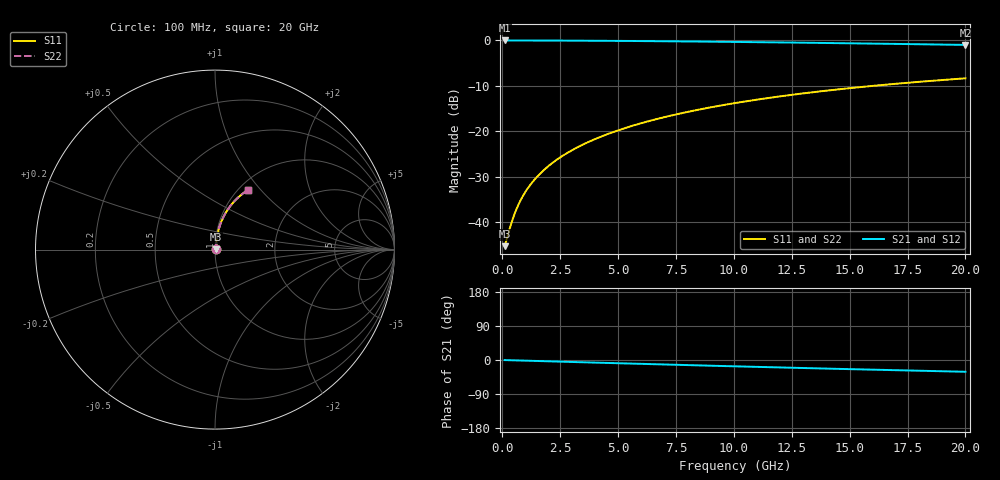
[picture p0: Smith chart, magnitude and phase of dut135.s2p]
! Touchstone file exported from HFSS 2024.1.0
!  File:  C:/UserFiles/LocalFiles/RDL_TSV_Batchsim/temp_RDL_bottom_135_1778696652.aedt
!  Generated:  02:26:53 AM May 14, 2026
!  Design:  RDL_bottom
!  Project:  temp_RDL_bottom_135_1778696652
!  Setup:  Setup1
!  Solution:  Sweep
! Variables:
!  dtsv = 10.80580581um
!  hbump = 3um
!  htsv = 73.01um
!  ldown = 358.16um
!  lrdl = 100um
!  p = 40
!  p1 = 46.82um
!  rhole = 1um
!  t = 450um
!  tdown = 2.14um
!  trdl = 3.915915916um
!  wdown = 12.25um
!  wrdl = 20um
# GHz S MA R 50.000000
! Terminal data exported
! Port[1] = RDL1_T1
! Port[2] = RDL1_T2
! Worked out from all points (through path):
!   200 points, 100 MHz to 20 GHz, reference 50 ohm
!   highest |S21| = -0.04 dB at 100 MHz (marker M1); lowest = -1.0 dB at 20 GHz (marker M2)
!   group delay of S21, straight-line fit = 4.31 ps
!   lowest |S11| = -45.2 dB at 100 MHz (marker M3), VSWR 1.01, Z = 50.5 + j0.215 ohm
!   |S11| at or under -10 dB: start of sweep to 16.05 GHz
!   |S22| runs from -45.2 to -8.4 dB; largest |S21 - S12| = 3.8e-15
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0.1  0.005466 22.9  0.995 -0.2  0.995 -0.2  0.005466 22.9
! Gamma 0 0 0 0
! Port Impedance 50 0 50 0
0.4  0.009941 58.3  0.9948 -0.7  0.9948 -0.7  0.009941 58.3
0.5  0.01181 63.2  0.9947 -0.9  0.9947 -0.9  0.01181 63.2
0.6  0.01374 66.6  0.9946 -1.1  0.9946 -1.1  0.01374 66.6
0.7  0.0157 69.2  0.9944 -1.2  0.9944 -1.2  0.01569 69.2
0.9  0.01965 72.7  0.9942 -1.6  0.9942 -1.6  0.01965 72.7
1.2  0.02561 75.7  0.9937 -2.1  0.9937 -2.1  0.02561 75.7
1.4  0.02959 77.0  0.9934 -2.5  0.9934 -2.5  0.02959 77.0
1.7  0.03558 78.4  0.993 -3.0  0.993 -3.0  0.03558 78.4
2.2  0.04559 79.7  0.9921 -3.8  0.9921 -3.8  0.04559 79.7
2.8  0.05766 80.4  0.9908 -4.9  0.9908 -4.9  0.05766 80.4
3.5  0.07182 80.7  0.989 -6.0  0.989 -6.0  0.07181 80.7
4.2  0.08602 80.5  0.9869 -7.2  0.9869 -7.2  0.08602 80.5
5  0.1023 80.0  0.9841 -8.6  0.9841 -8.6  0.1023 80.0
5.9  0.1206 79.3  0.9805 -10.1  0.9805 -10.1  0.1206 79.3
6.8  0.1389 78.4  0.9765 -11.5  0.9765 -11.5  0.1389 78.4
8.3  0.1692 76.7  0.969 -14.0  0.969 -14.0  0.1692 76.7
10.1  0.2051 74.4  0.9588 -16.8  0.9588 -16.8  0.2051 74.4
11.7  0.2362 72.2  0.9488 -19.3  0.9488 -19.3  0.2362 72.2
13.4  0.2684 69.9  0.9375 -21.8  0.9375 -21.8  0.2684 69.8
16.7  0.3275 65.3  0.9139 -26.6  0.9139 -26.6  0.3275 65.3
20  0.3816 60.9  0.8889 -31.0  0.8889 -31.0  0.3816 60.9
